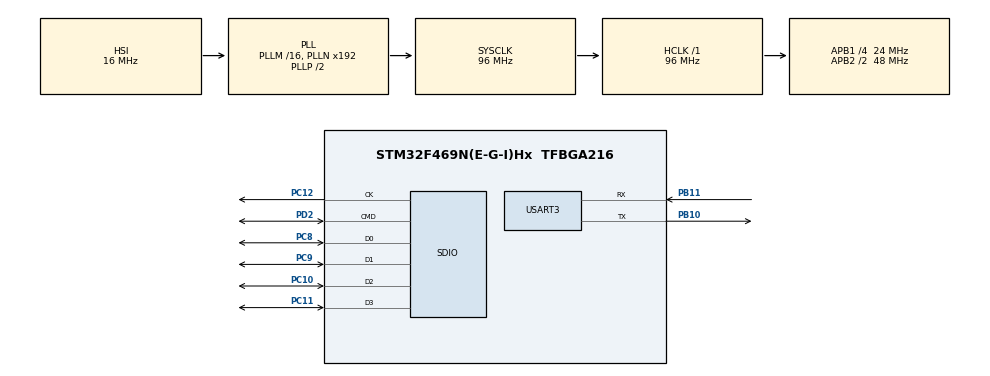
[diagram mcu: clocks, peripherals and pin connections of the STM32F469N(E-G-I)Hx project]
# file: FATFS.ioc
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Dma.Request0=SDIO_RX
Dma.Request1=SDIO_TX
Dma.SDIO_RX.0.Direction=DMA_PERIPH_TO_MEMORY
Dma.SDIO_RX.0.FIFOMode=DMA_FIFOMODE_ENABLE
Dma.SDIO_RX.0.FIFOThreshold=DMA_FIFO_THRESHOLD_FULL
Dma.SDIO_RX.0.Instance=DMA2_Stream3
Dma.SDIO_RX.0.MemBurst=DMA_MBURST_INC4
Dma.SDIO_RX.0.MemDataAlignment=DMA_MDATAALIGN_WORD
Dma.SDIO_RX.0.MemInc=DMA_MINC_ENABLE
Dma.SDIO_RX.0.Mode=DMA_PFCTRL
Dma.SDIO_RX.0.PeriphBurst=DMA_PBURST_INC4
Dma.SDIO_RX.0.PeriphDataAlignment=DMA_PDATAALIGN_WORD
Dma.SDIO_RX.0.PeriphInc=DMA_PINC_DISABLE
Dma.SDIO_RX.0.Priority=DMA_PRIORITY_LOW
Dma.SDIO_TX.1.Direction=DMA_MEMORY_TO_PERIPH
Dma.SDIO_TX.1.FIFOMode=DMA_FIFOMODE_ENABLE
Dma.SDIO_TX.1.FIFOThreshold=DMA_FIFO_THRESHOLD_FULL
Dma.SDIO_TX.1.Instance=DMA2_Stream6
Dma.SDIO_TX.1.MemBurst=DMA_MBURST_INC4
Dma.SDIO_TX.1.MemDataAlignment=DMA_MDATAALIGN_WORD
Dma.SDIO_TX.1.MemInc=DMA_MINC_ENABLE
Dma.SDIO_TX.1.Mode=DMA_PFCTRL
Dma.SDIO_TX.1.PeriphBurst=DMA_PBURST_INC4
Dma.SDIO_TX.1.PeriphDataAlignment=DMA_PDATAALIGN_WORD
Dma.SDIO_TX.1.PeriphInc=DMA_PINC_DISABLE
Dma.SDIO_TX.1.Priority=DMA_PRIORITY_LOW
FATFS._CODE_PAGE=936
FATFS._USE_LFN=2
Mcu.Family=STM32F4
Mcu.Name=STM32F469N(E-G-I)Hx
Mcu.Package=TFBGA216
NVIC.DMA2_Stream3_IRQn=true\:0\:0\:false\:false\:true
NVIC.DMA2_Stream6_IRQn=true\:0\:0\:false\:false\:true
NVIC.PriorityGroup=NVIC_PRIORITYGROUP_4
NVIC.SDIO_IRQn=true\:0\:0\:false\:false\:true
PB10.Mode=Asynchronous
PB10.Signal=USART3_TX
PB11.Mode=Asynchronous
PB11.Signal=USART3_RX
PC10.GPIO_Speed_High_Default=GPIO_SPEED_FREQ_HIGH
PC10.Mode=SD_4_bits_Wide_bus
PC10.Signal=SDIO_D2
PC11.GPIO_Speed_High_Default=GPIO_SPEED_FREQ_HIGH
PC11.Mode=SD_4_bits_Wide_bus
PC11.Signal=SDIO_D3
PC12.GPIO_Speed_High_Default=GPIO_SPEED_FREQ_HIGH
PC12.Mode=SD_4_bits_Wide_bus
PC12.Signal=SDIO_CK
PC8.GPIO_Speed_High_Default=GPIO_SPEED_FREQ_HIGH
PC8.Mode=SD_4_bits_Wide_bus
PC8.Signal=SDIO_D0
PC9.GPIO_Speed_High_Default=GPIO_SPEED_FREQ_HIGH
PC9.Mode=SD_4_bits_Wide_bus
PC9.Signal=SDIO_D1
PD2.GPIO_Speed_High_Default=GPIO_SPEED_FREQ_HIGH
PD2.Mode=SD_4_bits_Wide_bus
PD2.Signal=SDIO_CMD
ProjectManager.HeapSize=0x200
ProjectManager.StackSize=0x1000
ProjectManager.TargetToolchain=MDK-ARM V5
RCC.AHBFreq_Value=96000000
RCC.APB1CLKDivider=RCC_HCLK_DIV4
RCC.APB1Freq_Value=24000000
RCC.APB1TimFreq_Value=48000000
RCC.APB2CLKDivider=RCC_HCLK_DIV2
RCC.APB2Freq_Value=48000000
RCC.APB2TimFreq_Value=96000000
RCC.CortexFreq_Value=96000000
RCC.HCLKFreq_Value=96000000
RCC.SYSCLKFreq_VALUE=96000000
RCC.SYSCLKSource=RCC_SYSCLKSOURCE_PLLCLK
RCC.VCOOutputFreq_Value=192000000
SDIO.ClockDiv=0
USART3.VirtualMode=VM_ASYNC
VP_FATFS_VS_SDIO.Mode=SDIO
board=FATFS

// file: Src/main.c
/**
  ******************************************************************************
  * File Name          : main.c
  * Description        : Main program body
  ******************************************************************************
  *
  * COPYRIGHT(c) 2016 STMicroelectronics
  *
  * Redistribution and use in source and binary forms, with or without modification,
  * are permitted provided that the following conditions are met:
  *   1. Redistributions of source code must retain the above copyright notice,
  *      this list of conditions and the following disclaimer.
  *   2. Redistributions in binary form must reproduce the above copyright notice,
  *      this list of conditions and the following disclaimer in the documentation
  *      and/or other materials provided with the distribution.
  *   3. Neither the name of STMicroelectronics nor the names of its contributors
  *      may be used to endorse or promote products derived from this software
  *      without specific prior written permission.
  *
  * THIS SOFTWARE IS PROVIDED BY THE COPYRIGHT HOLDERS AND CONTRIBUTORS "AS IS"
  * AND ANY EXPRESS OR IMPLIED WARRANTIES, INCLUDING, BUT NOT LIMITED TO, THE
  * IMPLIED WARRANTIES OF MERCHANTABILITY AND FITNESS FOR A PARTICULAR PURPOSE ARE
  * DISCLAIMED. IN NO EVENT SHALL THE COPYRIGHT HOLDER OR CONTRIBUTORS BE LIABLE
  * FOR ANY DIRECT, INDIRECT, INCIDENTAL, SPECIAL, EXEMPLARY, OR CONSEQUENTIAL
  * DAMAGES (INCLUDING, BUT NOT LIMITED TO, PROCUREMENT OF SUBSTITUTE GOODS OR
  * SERVICES; LOSS OF USE, DATA, OR PROFITS; OR BUSINESS INTERRUPTION) HOWEVER
  * CAUSED AND ON ANY THEORY OF LIABILITY, WHETHER IN CONTRACT, STRICT LIABILITY,
  * OR TORT (INCLUDING NEGLIGENCE OR OTHERWISE) ARISING IN ANY WAY OUT OF THE USE
  * OF THIS SOFTWARE, EVEN IF ADVISED OF THE POSSIBILITY OF SUCH DAMAGE.
  *
  ******************************************************************************
  */
#include "stm32f4xx_hal.h"
#include "dma.h"
#include "fatfs.h"
#include "sdio.h"
#include "usart.h"
#include "gpio.h"

/* USER CODE BEGIN Includes */
#include <string.h>
/* USER CODE END Includes */

/* USER CODE BEGIN PV */
/* Private variables ---------------------------------------------------------*/
FATFS fs;                 // Work area (file system object) for logical drive
FIL fil;                  // file objects

uint32_t byteswritten;                /* File write counts */
uint32_t bytesread;                   /* File read counts */
uint8_t wtext[] = "This is STM32 working with FatFs"; /* File write buffer */
uint8_t rtext[16384];                     /* File read buffers */
char filename[] = "STM32cube.txt";
char pngname1[] = "1.bmp";
char pngname2[] = "2.png";

/* USER CODE END PV */

void SystemClock_Config(void);
void Error_Handler(void);

/* USER CODE BEGIN PFP */
/* Private function prototypes -----------------------------------------------*/

/* USER CODE END PFP */

int main(void)
{

  /* MCU Configuration----------------------------------------------------------*/

  /* Reset of all peripherals, Initializes the Flash interface and the Systick. */
  HAL_Init();

  /* Configure the system clock */
  SystemClock_Config();

  /* Initialize all configured peripherals */
  MX_GPIO_Init();
  MX_DMA_Init();
  MX_SDIO_SD_Init();
  MX_USART3_UART_Init();
  MX_FATFS_Init();

  /* USER CODE BEGIN 2 */

    printf("\r\n ****** FatFs Example ******\r\n\r\n");

    /*##-1- Register the file system object to the FatFs module ##############*/
    retSD = f_mount(&fs, "", 0);
    if(retSD)
    {
        printf(" mount error : %d \r\n",retSD);
        Error_Handler();
    }
    else
        printf(" mount sucess!!! \r\n");

    /*##-2- Create and Open new text file objects with write access ######*/
    retSD = f_open(&fil, pngname1, FA_READ);
		retSD = f_read(&fil, rtext, sizeof(rtext), (UINT*)&bytesread);
		retSD = f_close(&fil);

//    retSD = f_open(&fil, pngname2, FA_OPEN_ALWAYS |FA_WRITE);
//    retSD = f_write(&fil, rtext, sizeof(rtext), (void *)&byteswritten);
//		retSD = f_close(&fil);

	/* USER CODE END 2 */

  /* Infinite loop */
  /* USER CODE BEGIN WHILE */
  while (1)
  {
		HAL_Delay(1000);
//		printf("\n\r could not send to the queue \n\r");

  /* USER CODE END WHILE */

  }

}

/** System Clock Configuration
*/
void SystemClock_Config(void)
{

  RCC_OscInitTypeDef RCC_OscInitStruct;
  RCC_ClkInitTypeDef RCC_ClkInitStruct;
  RCC_PeriphCLKInitTypeDef PeriphClkInitStruct;

  __HAL_RCC_PWR_CLK_ENABLE();

  __HAL_PWR_VOLTAGESCALING_CONFIG(PWR_REGULATOR_VOLTAGE_SCALE3);

  RCC_OscInitStruct.OscillatorType = RCC_OSCILLATORTYPE_HSI;
  RCC_OscInitStruct.HSIState = RCC_HSI_ON;
  RCC_OscInitStruct.HSICalibrationValue = 16;
  RCC_OscInitStruct.PLL.PLLState = RCC_PLL_ON;
  RCC_OscInitStruct.PLL.PLLSource = RCC_PLLSOURCE_HSI;
  RCC_OscInitStruct.PLL.PLLM = 16;
  RCC_OscInitStruct.PLL.PLLN = 192;
  RCC_OscInitStruct.PLL.PLLP = RCC_PLLP_DIV2;
  RCC_OscInitStruct.PLL.PLLQ = 4;
  RCC_OscInitStruct.PLL.PLLR = 2;
  if (HAL_RCC_OscConfig(&RCC_OscInitStruct) != HAL_OK)
  {
    Error_Handler();
  }

  RCC_ClkInitStruct.ClockType = RCC_CLOCKTYPE_HCLK|RCC_CLOCKTYPE_SYSCLK
                              |RCC_CLOCKTYPE_PCLK1|RCC_CLOCKTYPE_PCLK2;
  RCC_ClkInitStruct.SYSCLKSource = RCC_SYSCLKSOURCE_PLLCLK;
  RCC_ClkInitStruct.AHBCLKDivider = RCC_SYSCLK_DIV1;
  RCC_ClkInitStruct.APB1CLKDivider = RCC_HCLK_DIV4;
  RCC_ClkInitStruct.APB2CLKDivider = RCC_HCLK_DIV2;
  if (HAL_RCC_ClockConfig(&RCC_ClkInitStruct, FLASH_LATENCY_3) != HAL_OK)
  {
    Error_Handler();
  }

  PeriphClkInitStruct.PeriphClockSelection = RCC_PERIPHCLK_SDIO|RCC_PERIPHCLK_CLK48;
  PeriphClkInitStruct.Clk48ClockSelection = RCC_CLK48CLKSOURCE_PLLQ;
  PeriphClkInitStruct.SdioClockSelection = RCC_SDIOCLKSOURCE_CLK48;
  if (HAL_RCCEx_PeriphCLKConfig(&PeriphClkInitStruct) != HAL_OK)
  {
    Error_Handler();
  }

  HAL_SYSTICK_Config(HAL_RCC_GetHCLKFreq()/1000);

  HAL_SYSTICK_CLKSourceConfig(SYSTICK_CLKSOURCE_HCLK);

  /* SysTick_IRQn interrupt configuration */
  HAL_NVIC_SetPriority(SysTick_IRQn, 0, 0);
}

void Error_Handler(void)
{
  /* USER CODE BEGIN Error_Handler */
	printf("something wrong ....\r\n");
  /* User can add his own implementation to report the HAL error return state */
  while(1)
  {
  }
  /* USER CODE END Error_Handler */
}

/************************ (C) COPYRIGHT STMicroelectronics *****END OF FILE****/
